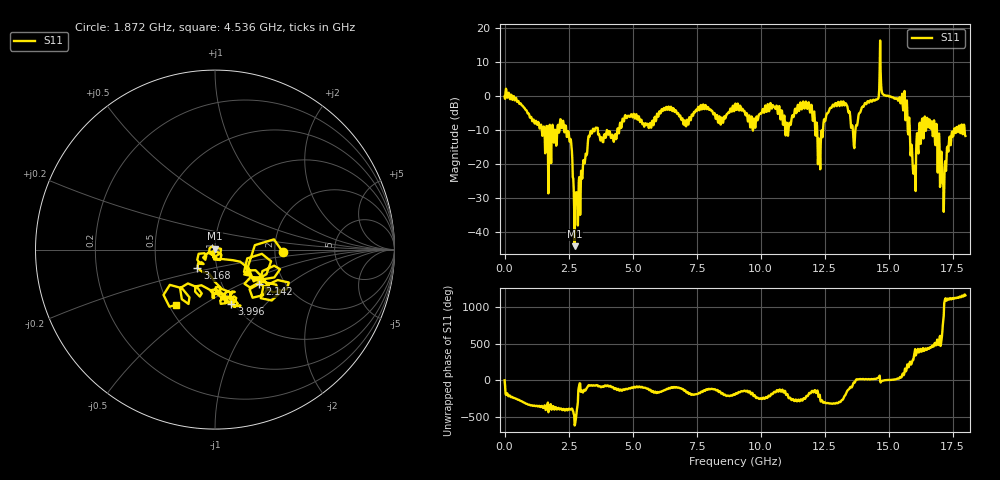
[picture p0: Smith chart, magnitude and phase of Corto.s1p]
!Keysight Technologies N9917A: A.12.46
!Date: Friday, 22 December 2023 20:14:06
!TimeZone: (UTC-03:00) Buenos Aires!Model: N9917A
!Serial: MY56072049
!GPS Latitude:
!GPS Longitude:
!GPS TimeStamp: 0001-01-01 00:00:00Z
!GPS Seconds Since Last Read: 0
!CHECKSUM:1514135208
!Correction: S11(ON U)
!S1P File: Measurement: S11:
# Hz S DB R 50
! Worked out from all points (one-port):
!   1001 points, 30 kHz to 18 GHz, reference 50 ohm
!   lowest |S11| = -44.2 dB at 2.736 GHz (marker M1), VSWR 1.01, Z = 49.8 + j0.593 ohm
!   |S11| at or under -10 dB: 2.408 GHz to 3.44 GHz (1.032 GHz wide, 35.3 % of centre); 3.998 GHz to 4.403 GHz (405.1 MHz wide, 9.64 % of centre); 16.89 GHz to 17.56 GHz (670.1 MHz wide, 3.89 % of centre)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
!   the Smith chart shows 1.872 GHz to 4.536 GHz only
!   S11 on the Smith chart (normalised r, x): 1.872 GHz: 2.22, -0.07; 2.142 GHz: 1.50, -0.63; 3.168 GHz: 0.81, -0.17; 3.996 GHz: 0.98, -0.66; 4.536 GHz: 0.55, -0.39
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30000  -0.12 -0.3
1.260298e8  -0.28 160.9
8.460286e8  -4.10 40.1
1.872027e9  -8.43 -2.2
2.142026e9  -10.12 -37.6
2.250026e9  -8.59 -46.7
2.736025e9  -44.22 104.7
3.168025e9  -16.97 -133.6
3.996023e9  -9.96 -73.3
4.500022e9  -8.36 -138.7
4.536022e9  -8.49 -125.1
6.750019e9  -5.09 -100.2
9.000015e9  -2.68 163.7
9.396014e9  -5.16 -144.1
1.018801e10  -2.73 123.0
1.069201e10  -5.00 -155.0
1.125001e10  -5.58 102.2
1.168201e10  -2.30 116.5
1.206001e10  -6.40 -164.3
1.276201e10  -3.45 43.8
1.315801e10  -2.06 85.6
1.350001e10  -5.84 -93.6
1.456201e10  -0.88 30.4
1.474201e10  1.10 -7.6
1.5534e10  0.74 73.6
1.575e10  -10.52 -143.8
1.71e10  -25.15 -55.7
1.8e10  -11.72 78.0
